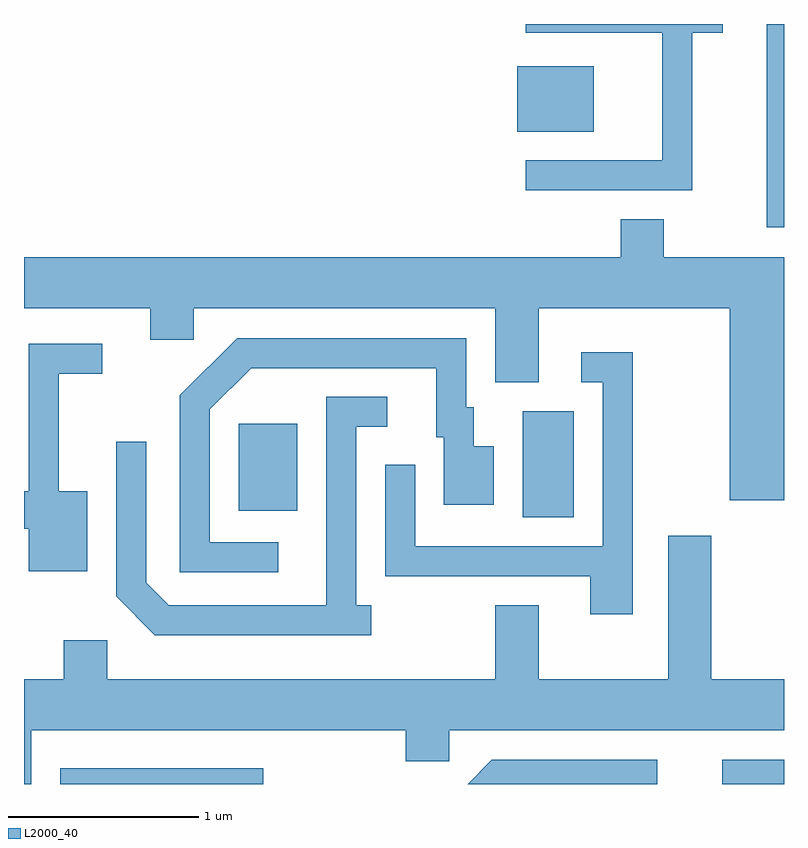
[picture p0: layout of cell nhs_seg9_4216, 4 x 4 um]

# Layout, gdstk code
import gdstk
lib = gdstk.Library(unit=1e-6, precision=1e-09)
def R(c, l, rs):  # rectangles x0, y0, x1, y1
    for r in rs: c.add(gdstk.rectangle(r[:2], r[2:], *l))
def P(c, l, *ps):  # polygons
    for p in ps: c.add(gdstk.Polygon(p, *l))
L2000_40 = (2000, 40)

nhs_seg9_4216 = lib.new_cell('nhs_seg9_4216')
R(nhs_seg9_4216, L2000_40, [(309.801,1980.432,310.869,1980.514), (313.286,1980.432,313.611,1980.559), (312.236,1981.836,312.504,1982.394), (310.741,1981.871,311.049,1982.329), (313.521,1983.361,313.611,1984.432), (312.206,1983.866,312.609,1984.209)])
P(nhs_seg9_4216, L2000_40, [(313.129,1984.386),(313.289,1984.386),(313.289,1984.432),(312.253,1984.432),(312.253,1984.386),(312.971,1984.386),(312.971,1983.714),(312.253,1983.714),(312.253,1983.556),(313.129,1983.556)],
  [(313.611,1983.204),(312.979,1983.204),(312.979,1983.404),(312.751,1983.404),(312.751,1983.204),(309.611,1983.204),(309.611,1982.936),(310.276,1982.936),(310.276,1982.771),(310.504,1982.771),(310.504,1982.936),(312.091,1982.936),(312.091,1982.546),(312.319,1982.546),(312.319,1982.936),(313.326,1982.936),(313.326,1981.926),(313.611,1981.926)],
  [(310.948,1981.704),(310.589,1981.704),(310.589,1982.404),(310.807,1982.621),(311.781,1982.621),(311.781,1982.256),(311.821,1982.256),(311.821,1981.901),(312.084,1981.901),(312.084,1982.209),(311.979,1982.209),(311.979,1982.414),(311.939,1982.414),(311.939,1982.779),(310.734,1982.779),(310.431,1982.477),(310.431,1981.546),(310.948,1981.546)],
  [(309.944,1981.974),(309.794,1981.974),(309.794,1982.591),(310.023,1982.591),(310.023,1982.749),(309.636,1982.749),(309.636,1981.974),(309.611,1981.974),(309.611,1981.776),(309.636,1981.776),(309.636,1981.551),(309.944,1981.551)],
  [(312.814,1982.704),(312.543,1982.704),(312.543,1982.546),(312.656,1982.546),(312.656,1981.684),(311.669,1981.684),(311.669,1982.113),(311.511,1982.113),(311.511,1981.526),(312.591,1981.526),(312.591,1981.326),(312.814,1981.326)],
  [(311.438,1981.374),(311.359,1981.374),(311.359,1982.311),(311.523,1982.311),(311.523,1982.469),(311.201,1982.469),(311.201,1981.374),(310.372,1981.374),(310.254,1981.492),(310.254,1982.233),(310.096,1982.233),(310.096,1981.419),(310.299,1981.216),(311.438,1981.216)],
  [(309.649,1980.716),(311.621,1980.716),(311.621,1980.551),(311.849,1980.551),(311.849,1980.716),(313.611,1980.716),(313.611,1980.984),(313.229,1980.984),(313.229,1981.739),(313.001,1981.739),(313.001,1980.984),(312.319,1980.984),(312.319,1981.374),(312.091,1981.374),(312.091,1980.984),(310.049,1980.984),(310.049,1981.189),(309.821,1981.189),(309.821,1980.984),(309.611,1980.984),(309.611,1980.432),(309.649,1980.432)],
  [(312.944,1980.559),(312.074,1980.559),(311.947,1980.432),(312.944,1980.432)])

lib.write_gds('nhs_seg9_4216.gds')
